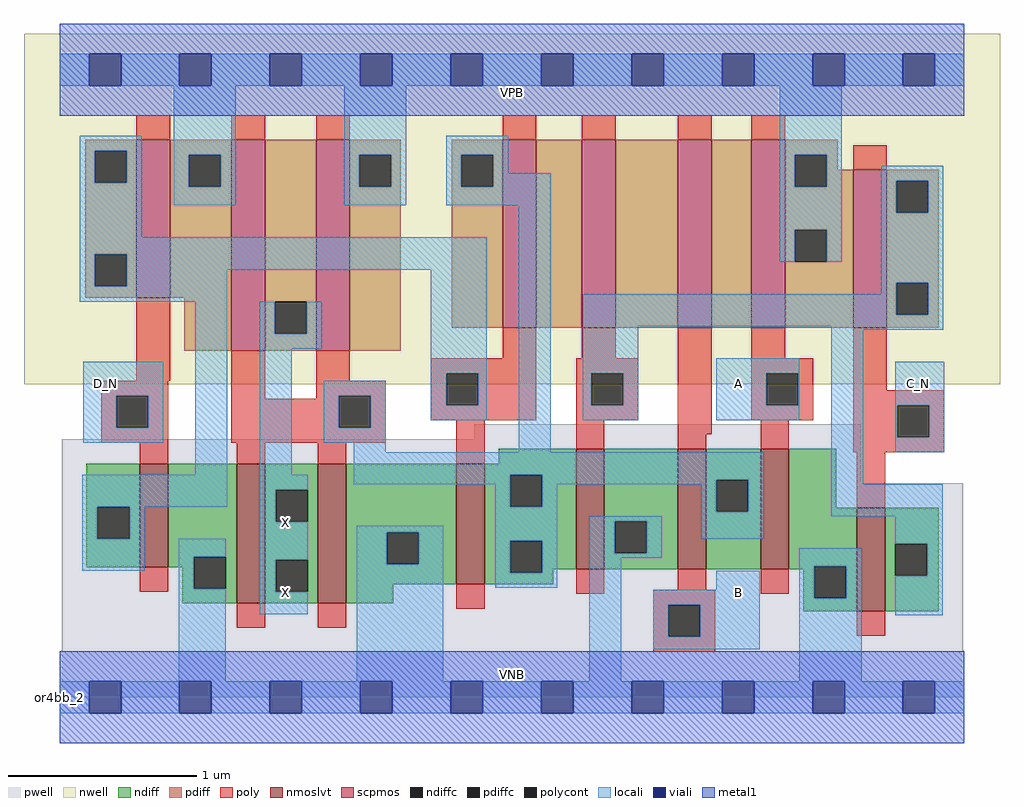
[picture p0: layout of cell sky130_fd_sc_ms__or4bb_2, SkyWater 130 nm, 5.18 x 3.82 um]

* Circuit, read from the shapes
.subckt sky130_fd_sc_ms__or4bb_2 A B C_N D_N VGND VNB VPB VPWR X
XM1 VGND D_N n1 VNB sky130_fd_pr__nfet_01v8_lvt w=0.55 l=0.15
XM2 X n2 VGND VNB sky130_fd_pr__nfet_01v8_lvt w=0.74 l=0.15 m=2
XM3 n2 n1 VGND VNB sky130_fd_pr__nfet_01v8_lvt w=0.64 l=0.15
XM4 VGND n3 n2 VNB sky130_fd_pr__nfet_01v8_lvt w=0.64 l=0.15
XM5 n2 B VGND VNB sky130_fd_pr__nfet_01v8_lvt w=0.64 l=0.15
XM6 VGND A n2 VNB sky130_fd_pr__nfet_01v8_lvt w=0.64 l=0.15
XM7 n3 C_N VGND VNB sky130_fd_pr__nfet_01v8_lvt w=0.55 l=0.15
XM8 VPWR D_N n1 VPB sky130_fd_pr__pfet_01v8 w=0.84 l=0.18
XM9 X n2 VPWR VPB sky130_fd_pr__pfet_01v8 w=1.12 l=0.18 m=2
XM10 n4 n1 n2 VPB sky130_fd_pr__pfet_01v8 w=1 l=0.18
XM11 n5 n3 n4 VPB sky130_fd_pr__pfet_01v8 w=1 l=0.18
XM12 n6 B n5 VPB sky130_fd_pr__pfet_01v8 w=1 l=0.18
XM13 VPWR A n6 VPB sky130_fd_pr__pfet_01v8 w=1 l=0.18
XM14 n3 C_N VPWR VPB sky130_fd_pr__pfet_01v8 w=0.84 l=0.18
.ends

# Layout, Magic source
magic
tech sky130A
magscale 1 2
<< nwell >>
rect -38 332 998 704
<< pwell >>
rect 440 274 850 290
rect 2 227 850 274
rect 2 49 959 227
rect 0 0 960 49
<< scpmos >>
rect 81 424 117 592
rect 182 368 218 592
rect 272 368 308 592
rect 470 392 506 592
rect 554 392 590 592
rect 656 392 692 592
rect 734 392 770 592
rect 842 392 878 560
<< nmoslvt >>
rect 85 138 115 248
rect 188 100 218 248
rect 274 100 304 248
rect 421 120 451 248
rect 548 136 578 264
rect 656 136 686 264
rect 744 136 774 264
rect 846 91 876 201
<< ndiff >>
rect 466 248 548 264
rect 28 202 85 248
rect 28 168 40 202
rect 74 168 85 202
rect 28 138 85 168
rect 115 149 188 248
rect 115 138 142 149
rect 130 115 142 138
rect 176 115 188 149
rect 130 100 188 115
rect 218 220 274 248
rect 218 186 229 220
rect 263 186 274 220
rect 218 146 274 186
rect 218 112 229 146
rect 263 112 274 146
rect 218 100 274 112
rect 304 175 421 248
rect 304 141 347 175
rect 381 141 421 175
rect 304 120 421 141
rect 451 236 548 248
rect 451 202 478 236
rect 512 202 548 236
rect 451 166 548 202
rect 451 132 478 166
rect 512 136 548 166
rect 578 187 656 264
rect 578 153 589 187
rect 623 153 656 187
rect 578 136 656 153
rect 686 231 744 264
rect 686 197 697 231
rect 731 197 744 231
rect 686 136 744 197
rect 774 201 824 264
rect 774 139 846 201
rect 774 136 801 139
rect 512 132 524 136
rect 451 120 524 132
rect 304 100 354 120
rect 789 105 801 136
rect 835 105 846 139
rect 789 91 846 105
rect 876 163 933 201
rect 876 129 887 163
rect 921 129 933 163
rect 876 91 933 129
<< pdiff >>
rect 27 580 81 592
rect 27 546 37 580
rect 71 546 81 580
rect 27 470 81 546
rect 27 436 37 470
rect 71 436 81 470
rect 27 424 81 436
rect 117 576 182 592
rect 117 542 137 576
rect 171 542 182 576
rect 117 424 182 542
rect 132 368 182 424
rect 218 420 272 592
rect 218 386 228 420
rect 262 386 272 420
rect 218 368 272 386
rect 308 576 362 592
rect 308 542 318 576
rect 352 542 362 576
rect 308 368 362 542
rect 416 576 470 592
rect 416 542 426 576
rect 460 542 470 576
rect 416 392 470 542
rect 506 392 554 592
rect 590 392 656 592
rect 692 392 734 592
rect 770 576 826 592
rect 770 542 780 576
rect 814 560 826 576
rect 814 542 842 560
rect 770 496 842 542
rect 770 462 780 496
rect 814 462 842 496
rect 770 392 842 462
rect 878 548 933 560
rect 878 514 888 548
rect 922 514 933 548
rect 878 440 933 514
rect 878 406 888 440
rect 922 406 933 440
rect 878 392 933 406
<< ndiffc >>
rect 40 168 74 202
rect 142 115 176 149
rect 229 186 263 220
rect 229 112 263 146
rect 347 141 381 175
rect 478 202 512 236
rect 478 132 512 166
rect 589 153 623 187
rect 697 197 731 231
rect 801 105 835 139
rect 887 129 921 163
<< pdiffc >>
rect 37 546 71 580
rect 37 436 71 470
rect 137 542 171 576
rect 228 386 262 420
rect 318 542 352 576
rect 426 542 460 576
rect 780 542 814 576
rect 780 462 814 496
rect 888 514 922 548
rect 888 406 922 440
<< poly >>
rect 81 592 117 618
rect 182 592 218 618
rect 272 592 308 618
rect 470 592 506 618
rect 554 592 590 618
rect 656 592 692 618
rect 734 592 770 618
rect 81 336 117 424
rect 842 560 878 586
rect 44 320 115 336
rect 44 286 60 320
rect 94 286 115 320
rect 44 270 115 286
rect 182 317 218 368
rect 272 336 308 368
rect 470 360 506 392
rect 554 360 590 392
rect 394 344 506 360
rect 272 320 346 336
rect 272 317 296 320
rect 182 286 296 317
rect 330 286 346 320
rect 394 310 410 344
rect 444 310 506 344
rect 394 294 506 310
rect 548 344 614 360
rect 548 310 564 344
rect 598 310 614 344
rect 548 294 614 310
rect 182 270 346 286
rect 85 248 115 270
rect 188 248 218 270
rect 274 248 304 270
rect 421 248 451 294
rect 548 264 578 294
rect 656 279 692 392
rect 734 360 770 392
rect 734 344 800 360
rect 734 310 750 344
rect 784 310 800 344
rect 734 294 800 310
rect 842 326 878 392
rect 842 310 939 326
rect 656 264 686 279
rect 744 264 774 294
rect 842 276 889 310
rect 923 276 939 310
rect 85 112 115 138
rect 842 260 939 276
rect 846 201 876 260
rect 188 74 218 100
rect 274 74 304 100
rect 421 94 451 120
rect 548 110 578 136
rect 656 114 686 136
rect 630 98 696 114
rect 744 110 774 136
rect 630 64 646 98
rect 680 64 696 98
rect 846 65 876 91
rect 630 48 696 64
<< polycont >>
rect 60 286 94 320
rect 296 286 330 320
rect 410 310 444 344
rect 564 310 598 344
rect 750 310 784 344
rect 889 276 923 310
rect 646 64 680 98
<< locali >>
rect 0 649 31 683
rect 65 649 127 683
rect 161 649 223 683
rect 257 649 319 683
rect 353 649 415 683
rect 449 649 511 683
rect 545 649 607 683
rect 641 649 703 683
rect 737 649 799 683
rect 833 649 895 683
rect 929 649 960 683
rect 21 580 87 596
rect 21 546 37 580
rect 71 546 87 580
rect 21 488 87 546
rect 121 576 187 649
rect 121 542 137 576
rect 171 542 187 576
rect 121 522 187 542
rect 302 576 368 649
rect 302 542 318 576
rect 352 542 368 576
rect 302 522 368 542
rect 410 576 476 596
rect 410 542 426 576
rect 460 556 476 576
rect 764 576 830 649
rect 460 542 521 556
rect 410 522 521 542
rect 21 470 453 488
rect 21 436 37 470
rect 71 454 453 470
rect 71 436 178 454
rect 21 420 178 436
rect 25 320 110 356
rect 25 286 60 320
rect 94 286 110 320
rect 25 270 110 286
rect 144 236 178 420
rect 24 202 178 236
rect 212 386 228 420
rect 262 386 278 420
rect 212 370 278 386
rect 212 236 246 370
rect 394 344 453 454
rect 280 320 346 336
rect 280 286 296 320
rect 330 286 346 320
rect 394 310 410 344
rect 444 310 453 344
rect 394 294 453 310
rect 280 270 346 286
rect 312 260 346 270
rect 487 260 521 522
rect 764 542 780 576
rect 814 542 830 576
rect 764 496 830 542
rect 764 462 780 496
rect 814 462 830 496
rect 872 548 938 564
rect 872 514 888 548
rect 922 514 938 548
rect 872 440 938 514
rect 872 428 888 440
rect 555 406 888 428
rect 922 406 938 440
rect 555 394 938 406
rect 555 344 614 394
rect 819 390 938 394
rect 555 310 564 344
rect 598 310 614 344
rect 555 294 614 310
rect 697 344 785 360
rect 697 310 750 344
rect 784 310 785 344
rect 697 294 785 310
rect 312 236 747 260
rect 212 220 263 236
rect 312 226 478 236
rect 24 168 40 202
rect 74 168 90 202
rect 212 186 229 220
rect 24 134 90 168
rect 126 149 176 168
rect 126 115 142 149
rect 126 17 176 115
rect 212 146 263 186
rect 462 202 478 226
rect 512 231 747 236
rect 512 226 697 231
rect 512 202 528 226
rect 212 112 229 146
rect 212 88 263 112
rect 315 175 407 182
rect 315 141 347 175
rect 381 141 407 175
rect 315 17 407 141
rect 462 166 528 202
rect 681 197 697 226
rect 731 197 747 231
rect 462 132 478 166
rect 512 132 528 166
rect 462 116 528 132
rect 562 187 639 192
rect 562 153 589 187
rect 623 153 639 187
rect 681 168 747 197
rect 819 226 853 390
rect 887 310 939 356
rect 887 276 889 310
rect 923 276 939 310
rect 887 260 939 276
rect 819 192 937 226
rect 887 163 937 192
rect 562 148 639 153
rect 562 17 596 148
rect 785 139 851 158
rect 697 114 743 134
rect 630 98 743 114
rect 630 64 646 98
rect 680 64 743 98
rect 630 51 743 64
rect 785 105 801 139
rect 835 105 851 139
rect 785 17 851 105
rect 921 129 937 163
rect 887 87 937 129
rect 0 -17 31 17
rect 65 -17 127 17
rect 161 -17 223 17
rect 257 -17 319 17
rect 353 -17 415 17
rect 449 -17 511 17
rect 545 -17 607 17
rect 641 -17 703 17
rect 737 -17 799 17
rect 833 -17 895 17
rect 929 -17 960 17
<< viali >>
rect 31 649 65 683
rect 127 649 161 683
rect 223 649 257 683
rect 319 649 353 683
rect 415 649 449 683
rect 511 649 545 683
rect 607 649 641 683
rect 703 649 737 683
rect 799 649 833 683
rect 895 649 929 683
rect 31 -17 65 17
rect 127 -17 161 17
rect 223 -17 257 17
rect 319 -17 353 17
rect 415 -17 449 17
rect 511 -17 545 17
rect 607 -17 641 17
rect 703 -17 737 17
rect 799 -17 833 17
rect 895 -17 929 17
<< metal1 >>
rect 0 683 960 715
rect 0 649 31 683
rect 65 649 127 683
rect 161 649 223 683
rect 257 649 319 683
rect 353 649 415 683
rect 449 649 511 683
rect 545 649 607 683
rect 641 649 703 683
rect 737 649 799 683
rect 833 649 895 683
rect 929 649 960 683
rect 0 617 960 649
rect 0 17 960 49
rect 0 -17 31 17
rect 65 -17 127 17
rect 161 -17 223 17
rect 257 -17 319 17
rect 353 -17 415 17
rect 449 -17 511 17
rect 545 -17 607 17
rect 641 -17 703 17
rect 737 -17 799 17
rect 833 -17 895 17
rect 929 -17 960 17
rect 0 -49 960 -17
<< labels >>
flabel pwell s 0 0 960 49 0 FreeSans 200 0 0 0 VNB
port 6 nsew ground bidirectional
flabel nwell s 0 617 960 666 0 FreeSans 200 0 0 0 VPB
port 7 nsew power bidirectional
rlabel comment s 0 0 0 0 4 or4bb_2
flabel metal1 s 0 617 960 666 0 FreeSans 340 0 0 0 VPWR
port 8 nsew power bidirectional
flabel metal1 s 0 0 960 49 0 FreeSans 340 0 0 0 VGND
port 5 nsew ground bidirectional
flabel locali s 223 94 257 128 0 FreeSans 340 0 0 0 X
port 9 nsew signal output
flabel locali s 223 168 257 202 0 FreeSans 340 0 0 0 X
port 9 nsew signal output
flabel locali s 31 316 65 350 0 FreeSans 340 0 0 0 D_N
port 4 nsew signal input
flabel locali s 895 316 929 350 0 FreeSans 340 0 0 0 C_N
port 3 nsew signal input
flabel locali s 703 94 737 128 0 FreeSans 340 0 0 0 B
port 2 nsew signal input
flabel locali s 703 316 737 350 0 FreeSans 340 0 0 0 A
port 1 nsew signal input
<< properties >>
string LEFsite unit
string LEFclass CORE
string FIXED_BBOX 0 0 960 666
string GDS_FILE $PDKPATH/libs.ref/sky130_fd_sc_ms/gds/sky130_fd_sc_ms.gds
string LEFsymmetry X Y
string GDS_END 3806038
string GDS_START 3798224
<< end >>
